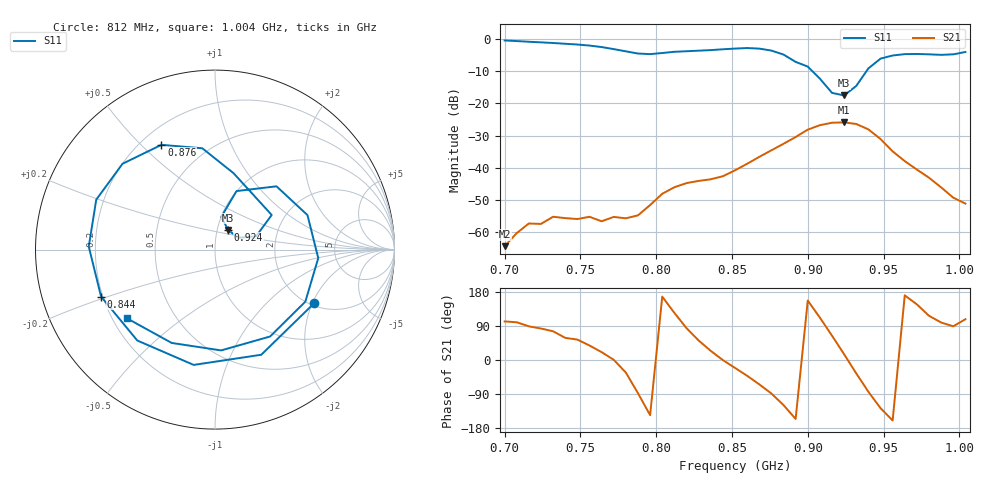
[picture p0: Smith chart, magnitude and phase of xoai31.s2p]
# Hz S RI R 50
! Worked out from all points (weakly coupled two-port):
!   39 points, 700 MHz to 1.004 GHz, reference 50 ohm
!   highest |S21| = -25.92 dB at 924 MHz (marker M1); lowest = -64.3 dB at 700 MHz (marker M2)
!   lowest |S11| = -17.6 dB at 924 MHz (marker M3), VSWR 1.30, Z = 56.4 + j12.6 ohm
!   |S11| at or under -10 dB: 902.9 MHz to 938.8 MHz (35.87 MHz wide, 3.89 % of centre)
!   S12 and S22 are empty: the file has one direction only
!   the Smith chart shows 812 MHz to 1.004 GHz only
!   S11 on the Smith chart (normalised r, x): 812 MHz: 2.08, -2.06; 844 MHz: 0.19, -0.19; 876 MHz: 0.28, +0.58; 924 MHz: 1.13, +0.25; 1.004 GHz: 0.26, -0.32
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7e8  0.7636 0.5489  -0.000125 0.000599  0 0  0 0
7.24e8  0.8439 -0.2448  0.000164 0.00134  0 0  0 0
7.4e8  0.4543 -0.7013  0.000871 0.00142  0 0  0 0
7.56e8  -0.1937 -0.7593  0.00137 0.00108  0 0  0 0
7.72e8  -0.6641 -0.1899  0.00174 1.62e-05  0 0  0 0
7.8e8  -0.593 0.2357  0.00138 -0.000905  0 0  0 0
7.88e8  -0.236 0.5407  7.29e-05 -0.00184  0 0  0 0
7.96e8  0.2528 0.5189  -0.00219 -0.0015  0 0  0 0
8.04e8  0.5794 0.1587  -0.00387 0.000874  0 0  0 0
8.12e8  0.5517 -0.2997  -0.00282 0.00413  0 0  0 0
8.28e8  -0.1189 -0.6425  0.00391 0.00491  0 0  0 0
8.44e8  -0.6348 -0.2616  0.00741 -3.42e-05  0 0  0 0
8.52e8  -0.7033 0.017  0.00855 -0.00326  0 0  0 0
8.76e8  -0.2983 0.5838  0.000521 -0.0187  0 0  0 0
9e8  0.3159 0.1929  -0.0359 0.0154  0 0  0 0
9.08e8  0.2291 0.0744  -0.017 0.0425  0 0  0 0
9.24e8  0.0732 0.11  0.0489 0.0132  0 0  0 0
9.4e8  0.1199 0.3261  0.00425 -0.0392  0 0  0 0
9.48e8  0.3426 0.3526  -0.0168 -0.0223  0 0  0 0
9.56e8  0.5153 0.1921  -0.0169 -0.00626  0 0  0 0
9.8e8  0.3071 -0.4841  -0.00315 0.00629  0 0  0 0
1.004e9  -0.4923 -0.3819  -0.000846 0.00266  0 0  0 0
